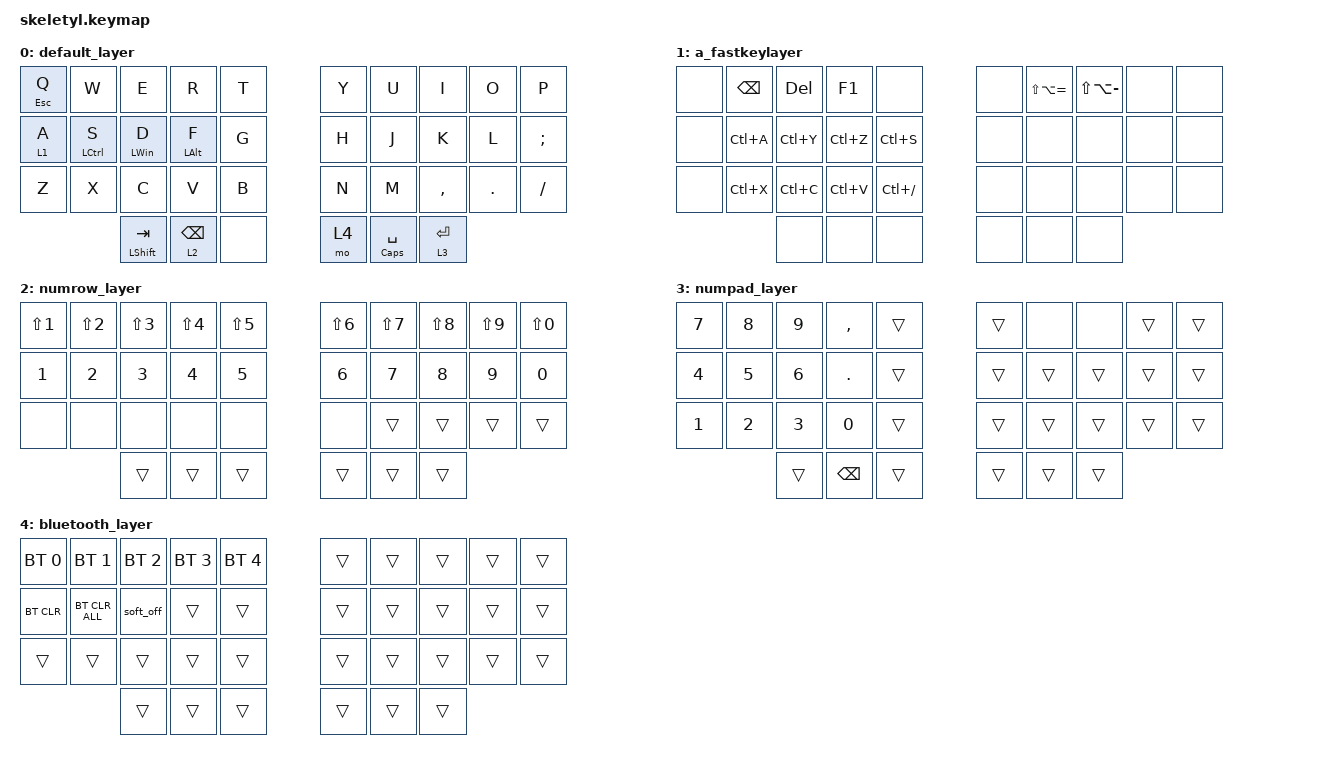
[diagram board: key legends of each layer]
/*
 * Copyright (c) 2020 The ZMK Contributors
 *
 * SPDX-License-Identifier: MIT
 */

#include <behaviors.dtsi>
#include <dt-bindings/zmk/bt.h>
#include <dt-bindings/zmk/keys.h>

&mt {
    tapping-term-ms = <200>;
    flavor = "tap-preferred";
};

/ {
    combos {
        compatible = "zmk,combos";

        left_braket {
            bindings = <&kp LEFT_BRACKET>;
            key-positions = <0 1>;
            timeout-ms = <20>;
        };

        left_brace {
            bindings = <&kp LEFT_BRACE>;
            key-positions = <1 2>;
            timeout-ms = <20>;
        };

        left_parenthsis {
            bindings = <&kp LEFT_PARENTHESIS>;
            key-positions = <2 3>;
            timeout-ms = <20>;
        };

        right_bracket {
            bindings = <&kp RIGHT_BRACKET>;
            key-positions = <8 9>;
            timeout-ms = <20>;
        };

        right_brace {
            bindings = <&kp RIGHT_BRACE>;
            key-positions = <7 8>;
            timeout-ms = <20>;
        };

        right_parthesis {
            bindings = <&kp RIGHT_PARENTHESIS>;
            key-positions = <6 7>;
            timeout-ms = <20>;
        };

        equal {
            bindings = <&kp EQUAL>;
            key-positions = <16 17>;
            timeout-ms = <20>;
        };

        plus {
            bindings = <&kp PLUS>;
            key-positions = <17 18>;
            timeout-ms = <20>;
        };

        apostrophe {
            bindings = <&kp SQT>;
            key-positions = <10 11>;
            timeout-ms = <20>;
        };

        double_quote {
            bindings = <&kp DOUBLE_QUOTES>;
            key-positions = <18 19>;
            timeout-ms = <20>;
        };

        minus {
            bindings = <&kp MINUS>;
            key-positions = <13 12>;
            timeout-ms = <20>;
        };

        underscore {
            bindings = <&kp UNDERSCORE>;
            key-positions = <12 11>;
            timeout-ms = <20>;
        };

        pipe {
            bindings = <&kp PIPE>;
            key-positions = <22 21>;
            timeout-ms = <20>;
        };

        backsplash {
            bindings = <&kp NON_US_BACKSLASH>;
            key-positions = <22 23>;
            timeout-ms = <20>;
        };

        grave {
            bindings = <&kp GRAVE>;
            key-positions = <26 27>;
        };

        tlide {
            bindings = <&kp TILDE>;
            key-positions = <28 27>;
        };
    };

    behaviors {
        hm: homerow_mods {
            compatible = "zmk,behavior-hold-tap";
            label = "HOMEROW_MODS";
            #binding-cells = <2>;
            tapping-term-ms = <200>;
            quick_tap_ms = <0>;
            flavor = "tap-preferred";
            bindings = <&kp>, <&kp>;

            quick-tap-ms = <180>;
            global-quick-tap;
        };

        ltq: ltq {
            compatible = "zmk,behavior-hold-tap";
            label = "LTQ";
            bindings = <&mo>, <&kp>;

            #binding-cells = <2>;
            tapping-term-ms = <600>;
            global-quick-tap;
            quick-tap-ms = <400>;
        };
    };

    keymap {
        compatible = "zmk,keymap";

        default_layer {
            bindings = <
&hm ESC Q                      &kp W                                &kp E                  &kp R           &kp T  &kp Y                            &kp U  &kp I      &kp O       &kp P
&lt 1 A                        &hm LEFT_CONTROL S                   &hm LEFT_WIN D         &hm LEFT_ALT F  &kp G  &kp H                            &kp J  &kp K      &kp L       &kp SEMICOLON
&kp Z                          &kp X                                &kp C                  &kp V           &kp B  &kp N                            &kp M  &kp COMMA  &kp PERIOD  &kp FSLH
           &mt LEFT_SHIFT TAB                      &lt 2 BACKSPACE                  &none                  &mo 4  &mt CAPSLOCK SPACE  &lt 3 ENTER
            >;
        };

        a_fastkeylayer {
            bindings = <
&none         &kp BACKSPACE         &kp DEL           &kp F1     &none          &none         &kp LS(LA(EQUAL))  &kp LS(LA(MINUS))  &none  &none
&none         &kp LC(A)             &kp LC(Y)         &kp LC(Z)  &kp LC(S)      &none         &none              &none              &none  &none
&none         &kp LC(X)             &kp LC(C)         &kp LC(V)  &kp LC(SLASH)  &none         &none              &none              &none  &none
       &none                 &none             &none             &none          &none  &none
            >;
        };

        numrow_layer {
            bindings = <
&kp LS(NUMBER_1)          &kp LS(NUMBER_2)          &kp LS(NUMBER_3)          &kp LS(NUMBER_4)  &kp LS(N5)  &kp LS(NUMBER_6)          &kp LS(N7)  &kp LS(N8)  &kp LS(N9)  &kp LS(N0)
&kp N1                    &kp N2                    &kp N3                    &kp N4            &kp N5      &kp N6                    &kp N7      &kp N8      &kp N9      &kp N0
&none                     &none                     &none                     &none             &none       &none                     &trans      &trans      &trans      &trans
                  &trans                    &trans                    &trans                    &trans      &trans            &trans
            >;
        };

        numpad_layer {
            bindings = <
&kp N7          &kp N8                 &kp N9          &kp COMMA  &trans  &trans          &none   &none   &trans  &trans
&kp N4          &kp N5                 &kp N6          &kp DOT    &trans  &trans          &trans  &trans  &trans  &trans
&kp N1          &kp N2                 &kp N3          &kp N0     &trans  &trans          &trans  &trans  &trans  &trans
        &trans          &kp BACKSPACE          &trans             &trans  &trans  &trans
            >;
        };

        bluetooth_layer {
            bindings = <
&bt BT_SEL 0          &bt BT_SEL 1            &bt BT_SEL 2          &bt BT_SEL 3  &bt BT_SEL 4  &trans          &trans  &trans  &trans  &trans
&bt BT_CLR            &bt BT_CLR_ALL          &soft_off             &trans        &trans        &trans          &trans  &trans  &trans  &trans
&trans                &trans                  &trans                &trans        &trans        &trans          &trans  &trans  &trans  &trans
              &trans                  &trans                &trans                &trans        &trans  &trans
            >;
        };
    };
};
